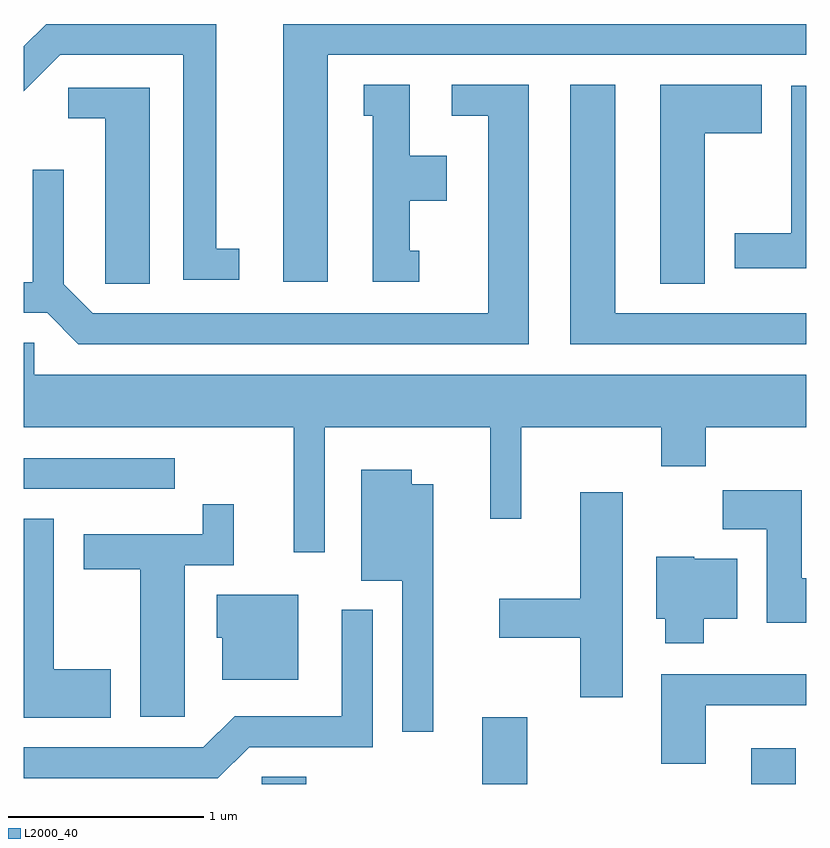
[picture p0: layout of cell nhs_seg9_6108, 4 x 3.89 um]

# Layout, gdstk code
import gdstk
lib = gdstk.Library(unit=1e-6, precision=1e-09)
def R(c, l, rs):  # rectangles x0, y0, x1, y1
    for r in rs: c.add(gdstk.rectangle(r[:2], r[2:], *l))
def P(c, l, *ps):  # polygons
    for p in ps: c.add(gdstk.Polygon(p, *l))
L2000_40 = (2000, 40)

nhs_seg9_6108 = lib.new_cell('nhs_seg9_6108')
R(nhs_seg9_6108, L2000_40, [(366.826,1994.432,367.054,1994.469), (367.956,1994.432,368.184,1994.774), (369.331,1994.432,369.559,1994.614), (365.611,1995.941,366.383,1996.099)])
P(nhs_seg9_6108, L2000_40, [(367.164,1998.161),(369.611,1998.161),(369.611,1998.319),(366.936,1998.319),(366.936,1997.001),(367.164,1997.001)],
  [(366.713,1997.169),(366.594,1997.169),(366.594,1998.319),(365.724,1998.319),(365.611,1998.206),(365.611,1997.975),(365.797,1998.161),(366.426,1998.161),(366.426,1997.011),(366.713,1997.011)],
  [(368.194,1998.009),(367.798,1998.009),(367.798,1997.851),(367.986,1997.851),(367.986,1996.839),(365.962,1996.839),(365.814,1996.987),(365.814,1997.573),(365.656,1997.573),(365.656,1996.999),(365.611,1996.999),(365.611,1996.841),(365.729,1996.841),(365.889,1996.681),(368.194,1996.681)],
  [(367.633,1997.159),(367.584,1997.159),(367.584,1997.416),(367.774,1997.416),(367.774,1997.644),(367.584,1997.644),(367.584,1998.009),(367.348,1998.009),(367.348,1997.851),(367.396,1997.851),(367.396,1997.001),(367.633,1997.001)],
  [(369.094,1997.761),(369.384,1997.761),(369.384,1998.009),(368.866,1998.009),(368.866,1996.991),(369.094,1996.991)],
  [(369.611,1996.839),(368.634,1996.839),(368.634,1998.009),(368.406,1998.009),(368.406,1996.681),(369.611,1996.681)],
  [(369.611,1998.004),(369.536,1998.004),(369.536,1997.249),(369.246,1997.249),(369.246,1997.071),(369.611,1997.071)],
  [(366.254,1997.994),(365.838,1997.994),(365.838,1997.836),(366.026,1997.836),(366.026,1996.991),(366.254,1996.991)],
  [(367.149,1996.256),(367.996,1996.256),(367.996,1995.788),(368.154,1995.788),(368.154,1996.256),(368.871,1996.256),(368.871,1996.056),(369.099,1996.056),(369.099,1996.256),(369.611,1996.256),(369.611,1996.524),(365.664,1996.524),(365.664,1996.689),(365.611,1996.689),(365.611,1996.256),(366.991,1996.256),(366.991,1995.618),(367.149,1995.618)],
  [(367.704,1995.964),(367.594,1995.964),(367.594,1996.039),(367.336,1996.039),(367.336,1995.471),(367.546,1995.471),(367.546,1994.698),(367.704,1994.698)],
  [(369.611,1995.484),(369.589,1995.484),(369.589,1995.934),(369.186,1995.934),(369.186,1995.736),(369.411,1995.736),(369.411,1995.256),(369.611,1995.256)],
  [(368.674,1995.924),(368.456,1995.924),(368.456,1995.379),(368.041,1995.379),(368.041,1995.181),(368.456,1995.181),(368.456,1994.876),(368.674,1994.876)],
  [(366.434,1995.551),(366.684,1995.551),(366.684,1995.863),(366.526,1995.863),(366.526,1995.709),(365.916,1995.709),(365.916,1995.531),(366.206,1995.531),(366.206,1994.776),(366.434,1994.776)],
  [(366.054,1995.019),(365.764,1995.019),(365.764,1995.789),(365.611,1995.789),(365.611,1994.771),(366.054,1994.771)],
  [(369.089,1995.276),(369.259,1995.276),(369.259,1995.584),(369.04,1995.584),(369.04,1995.594),(368.846,1995.594),(368.846,1995.276),(368.891,1995.276),(368.891,1995.151),(369.089,1995.151)],
  [(367.014,1995.399),(366.596,1995.399),(366.596,1995.181),(366.626,1995.181),(366.626,1994.966),(367.014,1994.966)],
  [(366.762,1994.621),(367.394,1994.621),(367.394,1995.323),(367.236,1995.323),(367.236,1994.779),(366.689,1994.779),(366.529,1994.619),(365.611,1994.619),(365.611,1994.461),(366.602,1994.461)],
  [(369.099,1994.836),(369.611,1994.836),(369.611,1994.994),(368.871,1994.994),(368.871,1994.536),(369.099,1994.536)])

lib.write_gds('nhs_seg9_6108.gds')
